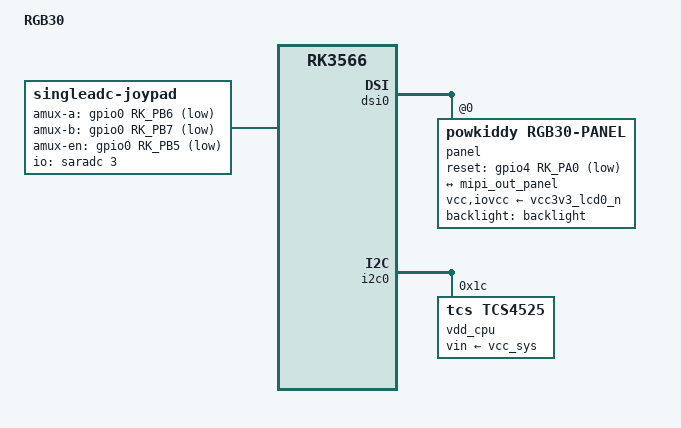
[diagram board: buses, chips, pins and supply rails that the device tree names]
// SPDX-License-Identifier: (GPL-2.0+ OR MIT)

/dts-v1/;

#include <dt-bindings/gpio/gpio.h>
#include <dt-bindings/input/linux-event-codes.h>
#include <dt-bindings/pinctrl/rockchip.h>
#include "rk3566-powkiddy-rk2023.dtsi"

/ {
	model = "RGB30";
	compatible = "powkiddy,rgb30", "rockchip,rk3566";

	/delete-node/ gpio-keys-control;

	joypad: singleadc-joypad {
		compatible = "singleadc-joypad";
		hw_info = <0x01>;

		joypad-name = "retrogame_joypad";
		joypad-product = <0x1101>;
		joypad-revision = <0x0100>;

		status = "okay";

		/* gpio pincontrol setup */
		pinctrl-names = "default";
		pinctrl-0 = <&btn_pins_ctrl>;

		/* Analog mux define */
		io-channel-names = "amux_adc";
		io-channels = <&saradc 3>;

		/* adc mux channel count */
		amux-count = <4>;
		/* adc mux select(a,b) gpio */
		amux-a-gpios = <&gpio0 RK_PB6 GPIO_ACTIVE_LOW>;
		amux-b-gpios = <&gpio0 RK_PB7 GPIO_ACTIVE_LOW>;
		/* adc mux enable gpio */
		amux-en-gpios = <&gpio0 RK_PB5 GPIO_ACTIVE_LOW>;

		/* adc calculate scale */
		button-adc-scale = <2>;


		/* adc deadzone range  */
		button-adc-deadzone = <64>;

		/*
		  specifies fuzz value that is used to filter noise from
		  the event stream.
		*/
		button-adc-fuzz = <32>;
		button-adc-flat = <32>;

		/*
		  Analog Stick data tuning value(precent)
		  p = positive direction, n = negative direction
		  report value = (real_adc_data * tuning_value) / 100
		*/
		abs_x-p-tuning = <245>;
		abs_x-n-tuning = <245>;

		abs_y-p-tuning = <245>;
		abs_y-n-tuning = <245>;

		abs_rx-p-tuning = <245>;
		abs_rx-n-tuning = <245>;

		abs_ry-p-tuning = <245>;
		abs_ry-n-tuning = <245>;

		/* poll device interval (ms), adc read interval */
		poll-interval = <10>;

		/* gpio button auto repeat set value : default disable */
		/*
			autorepeat;
		*/
		sw1 {
		        gpios = <&gpio3 RK_PA3 GPIO_ACTIVE_LOW>;
		        label = "GPIO DPAD-UP";
		        linux,code = <BTN_DPAD_UP>;
		};
		sw2 {
		        gpios = <&gpio3 RK_PA4 GPIO_ACTIVE_LOW>;
		        label = "GPIO DPAD-DOWN";
		        linux,code = <BTN_DPAD_DOWN>;
		};
		sw3 {
		        gpios = <&gpio3 RK_PA6 GPIO_ACTIVE_LOW>;
		        label = "GPIO DPAD-LEFT";
		        linux,code = <BTN_DPAD_LEFT>;
		};
		sw4 {
		        gpios = <&gpio3 RK_PA5 GPIO_ACTIVE_LOW>;
		        label = "GPIO DPAD-RIGHT";
		        linux,code = <BTN_DPAD_RIGHT>;
		};
		sw5 {
		        gpios = <&gpio3 RK_PC3 GPIO_ACTIVE_LOW>;
		        label = "GPIO KEY BTN-A";
		        linux,code = <BTN_SOUTH>;
		};
		sw6 {
		        gpios = <&gpio3 RK_PC2 GPIO_ACTIVE_LOW>;
		        label = "GPIO BTN-B";
		        linux,code = <BTN_EAST>;
		};
		sw7 {
		        gpios = <&gpio3 RK_PC0 GPIO_ACTIVE_LOW>;
		        label = "GPIO BTN-X";
		        linux,code = <BTN_NORTH>;
		};
		sw8 {
		        gpios = <&gpio3 RK_PC1 GPIO_ACTIVE_LOW>;
		        label = "GPIO BTN-Y";
		        linux,code = <BTN_WEST>;
		};
		sw9 {
		        gpios = <&gpio3 RK_PB6 GPIO_ACTIVE_LOW>;
		        label = "GPIO BTN_SELECT";
		        linux,code = <BTN_SELECT>;
		};
		sw10 {
		        gpios = <&gpio3 RK_PB5 GPIO_ACTIVE_LOW>;
		        label = "GPIO BTN_START";
		        linux,code = <BTN_START>;
		};
		sw11 {
		        gpios = <&gpio3 RK_PB7 GPIO_ACTIVE_LOW>;
		        label = "GPIO BTN_F";
		        linux,code = <BTN_MODE>;
		};
		sw12 {
		        gpios = <&gpio3 RK_PB1 GPIO_ACTIVE_LOW>;
		        label = "GPIO BTN_TL";
		        linux,code = <BTN_TL>;
		};
		sw13 {
		        gpios = <&gpio3 RK_PB3 GPIO_ACTIVE_LOW>;
		        label = "GPIO BTN_TR";
		        linux,code = <BTN_TR>;
		};
		sw14 {
		        gpios = <&gpio3 RK_PB2 GPIO_ACTIVE_LOW>;
		        label = "GPIO BTN_TL2";
		        linux,code = <BTN_TL2>;
		};
		sw15 {
		        gpios = <&gpio3 RK_PB4 GPIO_ACTIVE_LOW>;
		        label = "GPIO BTN_TR2";
		        linux,code = <BTN_TR2>;
		};
		sw16 {
		        gpios = <&gpio3 RK_PA1 GPIO_ACTIVE_LOW>;
		        label = "GPIO BTN_THUMBL";
		        linux,code = <BTN_THUMBL>;
		};
		sw17 {
		        gpios = <&gpio3 RK_PA2 GPIO_ACTIVE_LOW>;
		        label = "GPIO BTN_THUMBR";
		        linux,code = <BTN_THUMBR>;
		};
	
    	};

};

&cru {
	assigned-clocks = <&pmucru CLK_RTC_32K>, <&cru PLL_GPLL>,
			  <&pmucru PLL_PPLL>, <&cru PLL_VPLL>;
	assigned-clock-rates = <32768>, <1200000000>,
			       <200000000>, <292500000>;
};

&dsi0 {
	panel: panel@0 {
		compatible = "powkiddy,rgb30-panel";
		reg = <0>;
		backlight = <&backlight>;
		pinctrl-names = "default";
		pinctrl-0 = <&lcd_rst>;
		reset-gpios = <&gpio4 RK_PA0 GPIO_ACTIVE_LOW>;
		vcc-supply = <&vcc3v3_lcd0_n>;
		iovcc-supply = <&vcc3v3_lcd0_n>;

		port {
			mipi_in_panel: endpoint {
				remote-endpoint = <&mipi_out_panel>;
			};
		};
	};
};

&i2c0 {
	vdd_cpu: regulator@1c {
		compatible = "tcs,tcs4525";
		reg = <0x1c>;
		fcs,suspend-voltage-selector = <1>;
		regulator-always-on;
		regulator-boot-on;
		regulator-min-microvolt = <712500>;
		regulator-max-microvolt = <1390000>;
		regulator-name = "vdd_cpu";
		regulator-ramp-delay = <2300>;
		vin-supply = <&vcc_sys>;
		regulator-state-mem {
			regulator-off-in-suspend;
		};
	};
};

